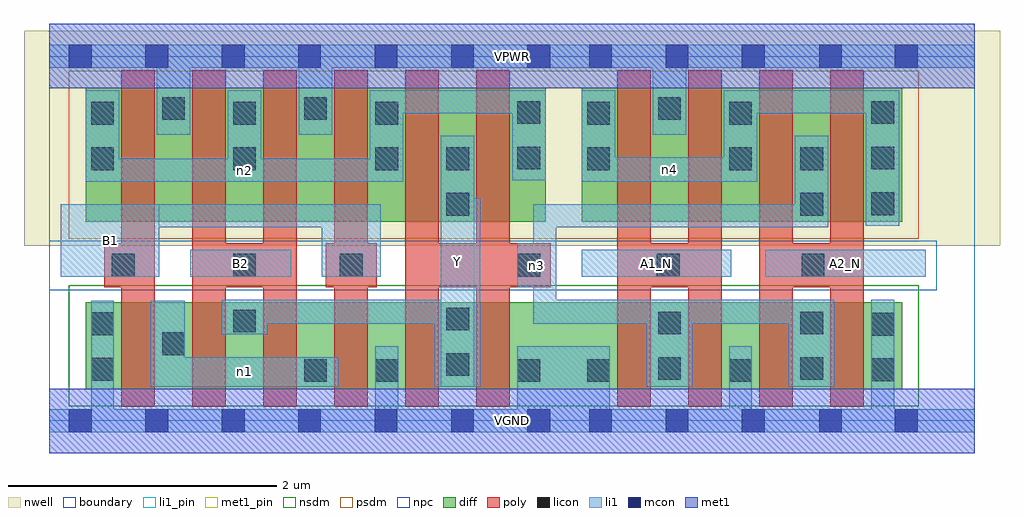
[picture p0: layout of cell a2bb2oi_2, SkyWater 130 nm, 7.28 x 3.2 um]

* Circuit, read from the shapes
.subckt a2bb2oi_2 A1_N A2_N B1 B2 VGND VPWR Y n1 n2 n3 n4
XM1 n1 B1 VGND VSUBS sky130_fd_pr__nfet_01v8 w=0.65 l=0.25 m=2
XM2 Y B2 n1 VSUBS sky130_fd_pr__nfet_01v8 w=0.65 l=0.25 m=2
XM3 Y n3 VGND VSUBS sky130_fd_pr__nfet_01v8 w=0.65 l=0.25 m=2
XM4 n3 A1_N VGND VSUBS sky130_fd_pr__nfet_01v8 w=0.65 l=0.25 m=2
XM5 n3 A2_N VGND VSUBS sky130_fd_pr__nfet_01v8 w=0.65 l=0.25 m=2
XM6 VPWR B1 n2 n5 sky130_fd_pr__pfet_01v8 w=1 l=0.25 m=2
XM7 n2 B2 VPWR n5 sky130_fd_pr__pfet_01v8 w=1 l=0.25 m=2
XM8 Y n3 n2 n5 sky130_fd_pr__pfet_01v8 w=1 l=0.25 m=2
XM9 VPWR A1_N n4 n5 sky130_fd_pr__pfet_01v8 w=1 l=0.25 m=2
XM10 n3 A2_N n4 n5 sky130_fd_pr__pfet_01v8 w=1 l=0.25 m=2
.ends

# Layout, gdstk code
import gdstk
lib = gdstk.Library(unit=1e-6, precision=1e-09)
def R(c, l, rs):  # rectangles x0, y0, x1, y1
    for r in rs: c.add(gdstk.rectangle(r[:2], r[2:], *l))
def A(c, l, x, y, w, h, nx, ny, dx, dy):  # array of equal rectangles
    R(c, l, [(x+i*dx, y+j*dy, x+i*dx+w, y+j*dy+h) for i in range(nx) for j in range(ny)])
nwell = (64, 20)
diff = (65, 20)
poly = (66, 20)
licon = (66, 44)
li1_pin = (67, 16)
li1 = (67, 20)
mcon = (67, 44)
met1_pin = (68, 16)
met1 = (68, 20)
nsdm = (93, 44)
psdm = (94, 20)
npc = (95, 20)
boundary = (235, 4)

a2bb2oi_2 = lib.new_cell('a2bb2oi_2')
R(a2bb2oi_2, nwell, [(-0.19,1.305,7.09,2.91), (0,1.305,6.9,2.91)])
R(a2bb2oi_2, diff, [(0.27,0.235,6.36,0.885), (0.27,1.485,3.7,2.485), (3.97,1.485,6.36,2.485)])
A(a2bb2oi_2, poly, 0.535, 0.105, 0.25, 2.51, 6, 1, 0.53, 0)
A(a2bb2oi_2, poly, 4.235, 0.105, 0.25, 2.51, 4, 1, 0.53, 0)
R(a2bb2oi_2, poly, [(0.41,0.995,0.785,1.325), (1.065,0.995,1.845,1.325), (2.06,0.995,2.44,1.325), (2.655,0.995,3.74,1.325), (4.235,0.995,5.015,1.325), (5.295,0.995,6.075,1.325)])
A(a2bb2oi_2, licon, 6.13, 1.535, 0.17, 0.17, 1, 3, 0, 0.34)
A(a2bb2oi_2, licon, 0.31, 1.87, 0.17, 0.17, 3, 2, 1.06, 0.34)
R(a2bb2oi_2, licon, [(1.9,0.29,2.07,0.46), (2.43,0.29,2.6,0.46), (3.49,0.29,3.66,0.46), (4.01,0.29,4.18,0.46), (5.07,0.29,5.24,0.46), (6.13,0.295,6.3,0.465), (0.31,0.3,0.48,0.47), (4.54,0.305,4.71,0.475), (5.6,0.305,5.77,0.475), (2.96,0.335,3.13,0.505), (0.84,0.49,1.01,0.66), (6.13,0.635,6.3,0.805), (0.31,0.64,0.48,0.81), (4.54,0.645,4.71,0.815), (5.6,0.645,5.77,0.815), (1.37,0.66,1.54,0.83), (2.96,0.675,3.13,0.845), (0.465,1.075,0.635,1.245), (1.37,1.075,1.54,1.245), (2.165,1.075,2.335,1.245), (3.49,1.075,3.66,1.245), (4.53,1.075,4.7,1.245), (5.61,1.075,5.78,1.245), (2.96,1.53,3.13,1.7), (5.6,1.53,5.77,1.7), (2.96,1.87,3.13,2.04), (4.01,1.87,4.18,2.04), (5.07,1.87,5.24,2.04), (5.6,1.87,5.77,2.04), (3.49,1.875,3.66,2.045), (4.01,2.21,4.18,2.38), (5.07,2.21,5.24,2.38), (3.49,2.215,3.66,2.385), (0.84,2.245,1.01,2.415), (1.9,2.245,2.07,2.415), (4.54,2.245,4.71,2.415)])
R(a2bb2oi_2, li1_pin, [(2.92,0.255,3.17,2.125), (0.085,1.075,0.82,1.615), (1.05,1.075,1.805,1.275), (3.97,1.075,5.085,1.275), (5.34,1.075,6.535,1.275)])
A(a2bb2oi_2, li1, 0.27, 1.785, 0.25, 0.68, 3, 1, 1.06, 0)
R(a2bb2oi_2, li1, [(0,-0.085,6.9,0.085), (0.31,-0.085,0.48,0.895), (2.43,-0.085,2.6,0.555), (3.49,-0.085,4.18,0.555), (5.07,-0.085,5.24,0.555), (6.13,-0.085,6.3,0.905), (0.755,0.255,2.155,0.475), (0.755,0.255,1.01,0.895), (2.875,0.255,3.215,0.905), (2.92,0.255,3.17,2.125), (2.92,0.255,3.215,1.66), (4.455,0.255,4.795,0.905), (5.515,0.255,5.855,0.905), (1.285,0.645,1.625,0.905), (1.285,0.725,3.215,0.905), (3.61,0.725,5.855,0.905), (3.61,0.725,3.78,1.615), (3.49,0.995,3.78,1.325), (0.085,1.075,0.82,1.615), (1.05,1.075,1.805,1.275), (2.03,1.075,2.47,1.615), (3.97,1.075,5.085,1.275), (5.34,1.075,6.535,1.275), (0.085,1.445,2.47,1.615), (3.61,1.445,5.81,1.615), (5.56,1.445,5.81,2.125), (6.09,1.455,6.34,2.465), (0.27,1.785,2.64,1.955), (3.97,1.785,4.22,2.465), (3.97,1.785,5.28,1.965), (5.03,1.785,5.28,2.465), (3.45,1.795,3.7,2.465), (0.8,2.135,1.05,2.805), (1.86,2.135,2.11,2.805), (4.5,2.135,4.75,2.805), (2.39,2.295,3.7,2.465), (5.03,2.295,6.34,2.465), (0,2.635,6.9,2.805)])
A(a2bb2oi_2, mcon, 0.145, -0.085, 0.17, 0.17, 7, 2, 0.57, 2.72)
A(a2bb2oi_2, mcon, 4.025, -0.085, 0.17, 0.17, 3, 2, 0.57, 2.72)
R(a2bb2oi_2, mcon, [(5.74,-0.085,5.91,0.085), (6.305,-0.085,6.475,0.085), (5.74,2.635,5.91,2.805), (6.305,2.635,6.475,2.805)])
R(a2bb2oi_2, met1_pin, [(0,-0.24,6.9,0.24), (0,2.48,6.9,2.96)])
R(a2bb2oi_2, met1, [(0,-0.24,6.9,0.24), (0,2.48,6.9,2.96)])
R(a2bb2oi_2, nsdm, [(0.145,0.11,6.485,1.01)])
R(a2bb2oi_2, psdm, [(0.145,1.36,6.485,2.61)])
R(a2bb2oi_2, npc, [(0,0.975,6.62,1.345)])
R(a2bb2oi_2, boundary, [(0,0,6.9,2.72)])
a2bb2oi_2.add(gdstk.Label('A1_N', (4.527,1.175), layer=67, texttype=5))
a2bb2oi_2.add(gdstk.Label('A2_N', (5.937,1.175), layer=67, texttype=5))
a2bb2oi_2.add(gdstk.Label('B1', (0.452,1.345), layer=67, texttype=5))
a2bb2oi_2.add(gdstk.Label('B2', (1.427,1.175), layer=67, texttype=5))
a2bb2oi_2.add(gdstk.Label('Y', (3.045,1.19), layer=67, texttype=5))
a2bb2oi_2.add(gdstk.Label('n1', (1.455,0.365), layer=67, texttype=5))
a2bb2oi_2.add(gdstk.Label('n3', (3.635,1.16), layer=67, texttype=5))
a2bb2oi_2.add(gdstk.Label('n2', (1.455,1.87), layer=67, texttype=5))
a2bb2oi_2.add(gdstk.Label('n4', (4.625,1.875), layer=67, texttype=5))
a2bb2oi_2.add(gdstk.Label('VPWR', (3.45,2.72), layer=68, texttype=5))
a2bb2oi_2.add(gdstk.Label('VGND', (3.45,0), layer=68, texttype=5))
a2bb2oi_2.add(gdstk.Label('A1_N', (4.527,1.175), layer=67, texttype=16))
a2bb2oi_2.add(gdstk.Label('A2_N', (5.937,1.175), layer=67, texttype=16))
a2bb2oi_2.add(gdstk.Label('B1', (0.452,1.345), layer=67, texttype=16))
a2bb2oi_2.add(gdstk.Label('B2', (1.427,1.175), layer=67, texttype=16))
a2bb2oi_2.add(gdstk.Label('Y', (3.045,1.19), layer=67, texttype=16))
a2bb2oi_2.add(gdstk.Label('VPWR', (3.45,2.72), layer=68, texttype=16))
a2bb2oi_2.add(gdstk.Label('VGND', (3.45,0), layer=68, texttype=16))

lib.write_gds('a2bb2oi_2.gds')
